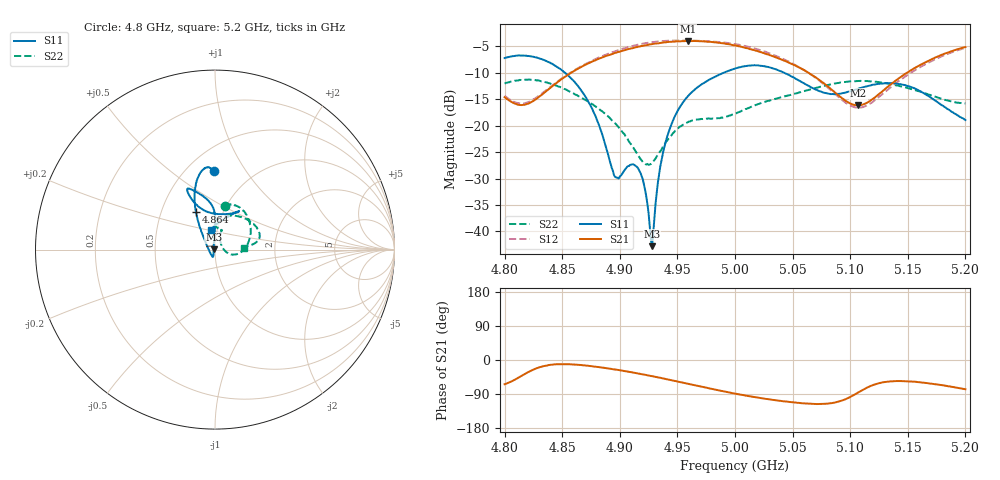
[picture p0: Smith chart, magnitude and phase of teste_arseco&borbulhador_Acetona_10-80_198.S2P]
! Network Analyzer HP8722D
! Hewlett-Packard
! Data name: Linha & Wilkinson
! Saver's name: Rodrigo Anjos
! Comments: Teste da utilização de aquisição
! continua pelo VNA HP8722D
! Time and date: 25/4/2025 16:55
!  Frequency  S11  S21  S12  S22
# HZ  S  MA R 50
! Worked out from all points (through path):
!   401 points, 4.8 GHz to 5.2 GHz, reference 50 ohm
!   highest |S21| = -3.99 dB at 4.959 GHz (marker M1); lowest = -16.2 dB at 5.107 GHz (marker M2)
!   lowest |S11| = -42.8 dB at 4.928 GHz (marker M3), VSWR 1.01, Z = 49.3 + j0.094 ohm
!   |S11| at or under -10 dB: 4.853 GHz to 4.99 GHz (137.7 MHz wide, 2.8 % of centre); 5.043 GHz to end of sweep
!   |S22| runs from -27.4 to -11.3 dB; largest |S21 - S12| = 1.2
!   S11 on the Smith chart (normalised r, x): 4.8 GHz: 0.67, +0.72; 4.864 GHz: 0.75, +0.33; 5.2 GHz: 0.94, +0.21
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4.8e9  0.4355 91.0  0.186 -64.0  0.1912 69.4  0.25 77.7
4.821e9  0.4558 97.6  0.1622 -31.1  0.1675 99.6  0.2726 61.3
4.843e9  0.3747 106.6  0.2433 -11.6  0.2473 119.0  0.2441 37.3
4.864e9  0.235 116.9  0.3474 -12.7  0.3503 121.1  0.1901 12.4
4.867e9  0.2118 118.6  0.3616 -13.5  0.3662 120.8  0.1834 9.1
4.88e9  0.1144 128.6  0.421 -18.2  0.4314 118.4  0.1488 -4.7
4.896e9  0.03281 -170.0  0.4868 -25.3  0.5048 113.4  0.1053 -15.6
4.91e9  0.04282 -108.3  0.5374 -32.3  0.5626 107.4  0.06603 -13.0
4.917e9  0.03733 -105.0  0.5595 -36.0  0.5878 103.7  0.04996 -1.2
4.921e9  0.02755 -107.9  0.5723 -38.5  0.5991 101.6  0.04447 12.1
4.926e9  0.01108 -135.0  0.5868 -41.5  0.6108 98.5  0.04306 32.3
4.928e9  0.007264 172.5  0.5901 -42.5  0.6156 97.3  0.04474 39.8
4.934e9  0.03402 101.2  0.6004 -46.5  0.6273 93.6  0.05503 57.2
4.944e9  0.09755 91.0  0.62 -52.8  0.6353 87.3  0.07952 68.7
4.959e9  0.1895 89.8  0.6319 -62.6  0.638 77.5  0.1079 70.9
5e9  0.3471 109.4  0.5742 -88.8  0.5917 51.0  0.1301 88.4
5.03e9  0.3557 115.4  0.4642 -103.9  0.4818 34.0  0.1725 85.4
5.067e9  0.2274 105.6  0.3015 -115.8  0.299 23.6  0.2219 57.4
5.107e9  0.2233 64.7  0.1556 -85.6  0.1475 57.4  0.264 24.4
5.134e9  0.2518 58.0  0.2398 -56.7  0.2251 88.7  0.2485 12.5
5.169e9  0.1873 70.6  0.4156 -61.9  0.4001 85.0  0.1958 7.0
5.2e9  0.113 100.7  0.5526 -77.2  0.5431 70.3  0.1622 3.8
